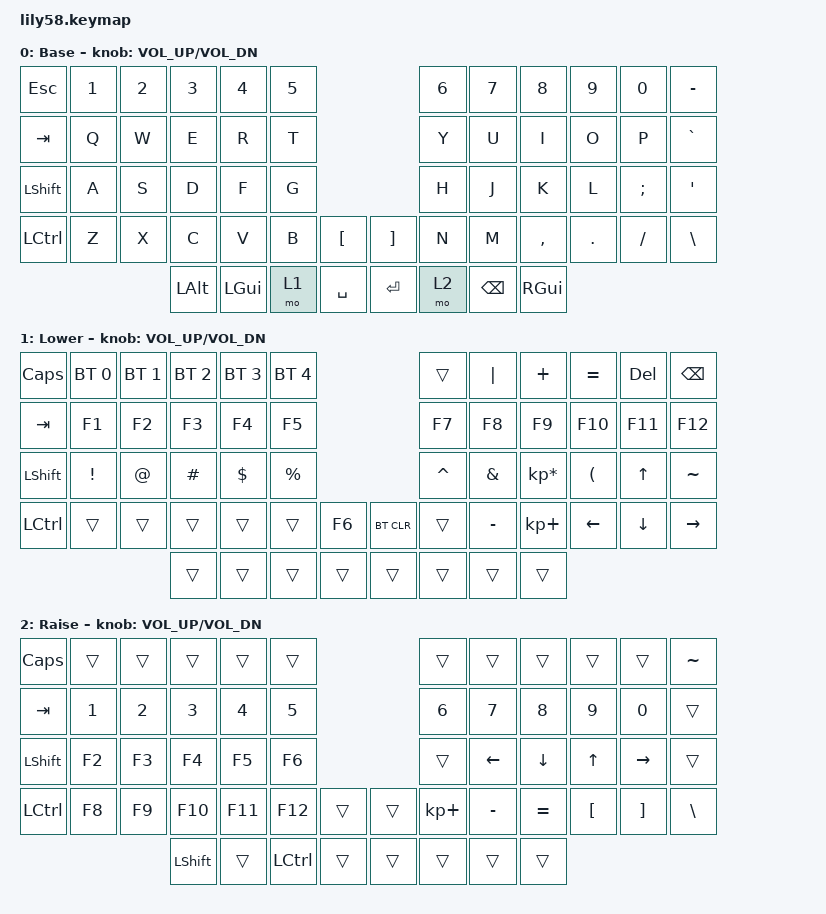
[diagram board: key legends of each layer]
/*
 * Copyright (c) 2020 The ZMK Contributors
 *
 * SPDX-License-Identifier: MIT
 */

#include <behaviors.dtsi>
#include <dt-bindings/zmk/bt.h>
#include <dt-bindings/zmk/keys.h>

/ {
    keymap {
        compatible = "zmk,keymap";

        default_layer {
            // ------------------------------------------------------------------------------------------------------------
            // |  ESC  |  1  |  2  |  3   |  4   |  5   |                   |  6   |  7    |  8    |  9   |   0   |   `   |
            // |  TAB  |  Q  |  W  |  E   |  R   |  T   |                   |  Y   |  U    |  I    |  O   |   P   |   -   |
            // |  CTRL |  A  |  S  |  D   |  F   |  G   |                   |  H   |  J    |  K    |  L   |   ;   |   '   |
            // | SHIFT |  Z  |  X  |  C   |  V   |  B   |   "["  |  |  "]"  |  N   |  M    |  ,    |  .   |   /   | SHIFT |
            //                     | ALT  | GUI  | LOWER|  SPACE |  | ENTER | RAISE| BSPC  | GUI   |

            display-name = "Base";
            bindings = <
&kp ESC           &kp N1  &kp N2  &kp N3    &kp N4    &kp N5                         &kp N6  &kp N7    &kp N8     &kp N9   &kp N0    &kp MINUS
&kp TAB           &kp Q   &kp W   &kp E     &kp R     &kp T                          &kp Y   &kp U     &kp I      &kp O    &kp P     &kp GRAVE
&kp LEFT_SHIFT    &kp A   &kp S   &kp D     &kp F     &kp G                          &kp H   &kp J     &kp K      &kp L    &kp SEMI  &kp SQT
&kp LEFT_CONTROL  &kp Z   &kp X   &kp C     &kp V     &kp B   &kp LBKT     &kp RBKT  &kp N   &kp M     &kp COMMA  &kp DOT  &kp FSLH  &kp BACKSLASH
                                  &kp LALT  &kp LGUI  &mo 1   &kp SPACE    &kp RET   &mo 2   &kp BSPC  &kp RGUI
            >;

            sensor-bindings = <&inc_dec_kp C_VOL_UP C_VOL_DN>;
        };

        lower_layer {
            // ------------------------------------------------------------------------------------------------------------
            // | BTCLR | BT1 | BT2 |  BT3 |  BT4 |  BT5 |                   |      |       |       |      |       |       |
            // |  F1   |  F2 |  F3 |  F4  |  F5  |  F6  |                   |  F7  |  F8   |  F9   |  F10 |  F11  |  F12  |
            // |   `   |  !  |  @  |  #   |  $   |  %   |                   |  ^   |  &    |  *    |  (   |   )   |   ~   |
            // |       |     |     |      |      |      |        |  |       |      |  _    |  +    |  {   |   }   |  "|"  |
            //                     |      |      |      |        |  |       |      |       |       |

            display-name = "Lower";
            bindings = <
&kp CAPSLOCK    &bt BT_SEL 0  &bt BT_SEL 1  &bt BT_SEL 2  &bt BT_SEL 3  &bt BT_SEL 4                        &trans     &kp PIPE   &kp PLUS         &kp EQUAL       &kp DELETE      &kp BACKSPACE
&kp TAB         &kp F1        &kp F2        &kp F3        &kp F4        &kp F5                              &kp F7     &kp F8     &kp F9           &kp F10         &kp F11         &kp F12
&kp LEFT_SHIFT  &kp EXCL      &kp AT        &kp HASH      &kp DOLLAR    &kp PRCNT                           &kp CARET  &kp AMPS   &kp KP_MULTIPLY  &kp LPAR        &kp UP_ARROW    &kp TILDE
&kp LCTRL       &trans        &trans        &trans        &trans        &trans        &kp F6    &bt BT_CLR  &trans     &kp MINUS  &kp KP_PLUS      &kp LEFT_ARROW  &kp DOWN_ARROW  &kp RIGHT_ARROW
                                            &trans        &trans        &trans        &trans    &trans      &trans     &trans     &trans
            >;

            sensor-bindings = <&inc_dec_kp C_VOL_UP C_VOL_DN>;
        };

        raise_layer {
            // ------------------------------------------------------------------------------------------------------------
            // |       |     |     |      |      |      |                   |      |       |       |      |       |       |
            // |   `   |  1  |  2  |  3   |  4   |  5   |                   |  6   |   7   |   8   |  9   |   0   |       |
            // |   F1  |  F2 |  F3 |  F4  |  F5  |  F6  |                   |      |   <-  |   v   |  ^   |  ->   |       |
            // |   F7  |  F8 |  F9 |  F10 |  F11 |  F12 |        |  |       |  +   |   -   |   =   |  [   |   ]   |   \   |
            //                     |      |      |      |        |  |       |      |       |       |

            display-name = "Raise";
            bindings = <
&kp CAPS        &trans  &trans  &trans      &trans   &trans                       &trans       &trans     &trans     &trans    &trans     &kp TILDE
&kp TAB         &kp N1  &kp N2  &kp N3      &kp N4   &kp N5                       &kp N6       &kp N7     &kp N8     &kp N9    &kp N0     &trans
&kp LEFT_SHIFT  &kp F2  &kp F3  &kp F4      &kp F5   &kp F6                       &trans       &kp LEFT   &kp DOWN   &kp UP    &kp RIGHT  &trans
&kp LCTRL       &kp F8  &kp F9  &kp F10     &kp F11  &kp F12    &trans    &trans  &kp KP_PLUS  &kp MINUS  &kp EQUAL  &kp LBKT  &kp RBKT   &kp BSLH
                                &kp LSHIFT  &trans   &kp LCTRL  &trans    &trans  &trans       &trans     &trans
            >;

            sensor-bindings = <&inc_dec_kp C_VOL_UP C_VOL_DN>;
        };
    };
};
